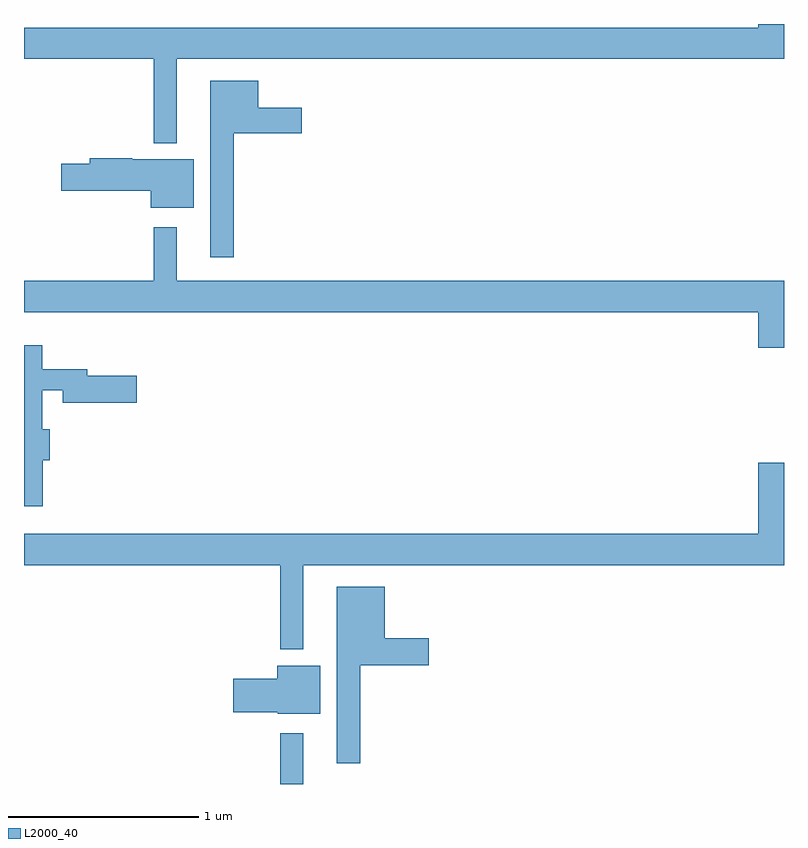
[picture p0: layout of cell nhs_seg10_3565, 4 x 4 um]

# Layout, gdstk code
import gdstk
lib = gdstk.Library(unit=1e-6, precision=1e-09)
def R(c, l, rs):  # rectangles x0, y0, x1, y1
    for r in rs: c.add(gdstk.rectangle(r[:2], r[2:], *l))
def P(c, l, *ps):  # polygons
    for p in ps: c.add(gdstk.Polygon(p, *l))
L2000_40 = (2000, 40)

nhs_seg10_3565 = lib.new_cell('nhs_seg10_3565')
R(nhs_seg10_3565, L2000_40, [(306.348,1296.5,306.469,1296.766)])
P(nhs_seg10_3565, L2000_40, [(305.803,1300.316),(309,1300.316),(309,1300.5),(308.864,1300.5),(308.864,1300.48),(305,1300.48),(305,1300.316),(305.682,1300.316),(305.682,1299.979),(305.683,1299.979),(305.683,1299.872),(305.803,1299.872)],
  [(306.103,1299.926),(306.463,1299.926),(306.463,1300.06),(306.232,1300.06),(306.232,1300.201),(305.981,1300.201),(305.981,1299.273),(306.103,1299.273)],
  [(305.893,1299.787),(305.57,1299.787),(305.57,1299.794),(305.345,1299.794),(305.345,1299.764),(305.196,1299.764),(305.196,1299.622),(305.666,1299.622),(305.666,1299.533),(305.893,1299.533)],
  [(309,1299.148),(305.803,1299.148),(305.803,1299.43),(305.682,1299.43),(305.682,1299.148),(305,1299.148),(305,1298.984),(308.864,1298.984),(308.864,1298.796),(309,1298.796)],
  [(305.099,1298.203),(305.135,1298.203),(305.135,1298.368),(305.096,1298.368),(305.096,1298.573),(305.204,1298.573),(305.204,1298.507),(305.593,1298.507),(305.593,1298.649),(305.332,1298.649),(305.332,1298.683),(305.096,1298.683),(305.096,1298.809),(305,1298.809),(305,1297.962),(305.099,1297.962)],
  [(306.469,1297.652),(309,1297.652),(309,1298.191),(308.864,1298.191),(308.864,1297.816),(305,1297.816),(305,1297.652),(306.348,1297.652),(306.348,1297.208),(306.469,1297.208)],
  [(306.769,1297.124),(307.129,1297.124),(307.129,1297.266),(306.898,1297.266),(306.898,1297.537),(306.647,1297.537),(306.647,1296.609),(306.769,1296.609)],
  [(306.559,1297.123),(306.332,1297.123),(306.332,1297.055),(306.102,1297.055),(306.102,1296.877),(306.336,1296.877),(306.336,1296.869),(306.559,1296.869)])

lib.write_gds('nhs_seg10_3565.gds')
